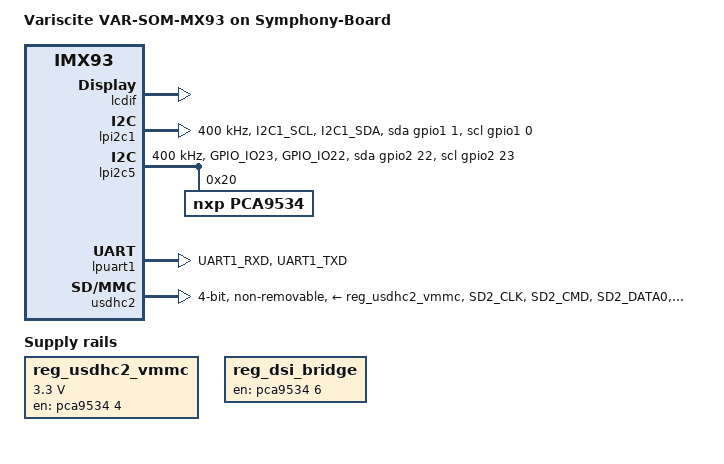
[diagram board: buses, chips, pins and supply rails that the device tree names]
// SPDX-License-Identifier: (GPL-2.0+ OR MIT)
/*
 * Copyright 2021 NXP
 * Copyright 2023 Variscite Ltd.
 */

/dts-v1/;

#include "imx93-var-som.dtsi"

/{
	model = "Variscite VAR-SOM-MX93 on Symphony-Board";
	compatible = "variscite,imx93-var-som", "fsl,imx93";

	aliases {
		ethernet1 = &fec;
	};

	chosen {
		bootargs = "console=ttyLP0,115200";	
		stdout-path = &lpuart1;
	};

	reserved-memory {
		#address-cells = <2>;
		#size-cells = <2>;
		ranges;

		audio: audio@a4120000 {
			compatible = "shared-dma-pool";
			reg = <0 0xa4120000 0 0x100000>;
			no-map;
		};
	};

	reg_usdhc2_vmmc: regulator-usdhc2 {
		compatible = "regulator-fixed";
		regulator-name = "VSD_3V3";
		regulator-min-microvolt = <3300000>;
		regulator-max-microvolt = <3300000>;
		gpio = <&pca9534 4 GPIO_ACTIVE_HIGH>;
		off-on-delay-us = <200000>;
		startup-delay-us = <200000>;
		enable-active-high;
	};

        reg_dsi_bridge: regulator-dsi-bridge {
                compatible = "regulator-fixed";
                regulator-name = "DSI_EN";
                gpio = <&pca9534 6 GPIO_ACTIVE_HIGH>;
		regulator-always-on;
                enable-active-high;
        };

};



&iomuxc {
	pinctrl-names = "default";
	status = "okay";

	pinctrl_lpi2c1_gpio: lpi2c1grp-gpio {
		fsl,pins = <
			MX93_PAD_I2C1_SCL__GPIO1_IO00			0x31e
			MX93_PAD_I2C1_SDA__GPIO1_IO01			0x31e
		>;
	};

	pinctrl_lpi2c1: lpi2c1grp {
		fsl,pins = <
			MX93_PAD_I2C1_SCL__LPI2C1_SCL			0x40000b9e
			MX93_PAD_I2C1_SDA__LPI2C1_SDA			0x40000b9e
		>;
	};

	pinctrl_lpi2c5: lpi2c5grp {
		fsl,pins = <
			MX93_PAD_GPIO_IO23__LPI2C5_SCL			0x40000b9e
			MX93_PAD_GPIO_IO22__LPI2C5_SDA			0x40000b9e
		>;
	};

	pinctrl_lpi2c5_gpio: lpi2c5grp-gpio {
		fsl,pins = <
			MX93_PAD_GPIO_IO23__GPIO2_IO23			0x31e
			MX93_PAD_GPIO_IO22__GPIO2_IO22			0x31e
		>;
	};

	pinctrl_uart1: uart1grp {
		fsl,pins = <
			MX93_PAD_UART1_RXD__LPUART1_RX			0x31e
			MX93_PAD_UART1_TXD__LPUART1_TX			0x31e
		>;
	};

	pinctrl_usdhc2: usdhc2grp {
		fsl,pins = <
                        MX93_PAD_SD2_CLK__USDHC2_CLK                    0x15fe
                        MX93_PAD_SD2_CMD__USDHC2_CMD                    0x13fe
                        MX93_PAD_SD2_DATA0__USDHC2_DATA0                0x13fe
                        MX93_PAD_SD2_DATA1__USDHC2_DATA1                0x13fe
                        MX93_PAD_SD2_DATA2__USDHC2_DATA2                0x13fe
                        MX93_PAD_SD2_DATA3__USDHC2_DATA3                0x13fe
                        MX93_PAD_SD2_VSELECT__USDHC2_VSELECT            0x51e
		>;
	};
};

&lcdif {
	status = "okay";
	assigned-clock-rates = <484000000>, <121000000>, <400000000>, <133333333>;
};

&lpi2c1 {
	#address-cells = <1>;
	#size-cells = <0>;
	clock-frequency = <400000>;
	pinctrl-names = "default", "sleep", "gpio";
	pinctrl-0 = <&pinctrl_lpi2c1>;
	pinctrl-1 = <&pinctrl_lpi2c1_gpio>;
	pinctrl-2 = <&pinctrl_lpi2c1_gpio>;
	scl-gpios = <&gpio1 0 GPIO_ACTIVE_HIGH>;
	sda-gpios = <&gpio1 1 GPIO_ACTIVE_HIGH>;
	status = "okay";
};

&lpi2c5 {
	#address-cells = <1>;
	#size-cells = <0>;
	clock-frequency = <400000>;
	pinctrl-names = "default", "sleep", "gpio";
	pinctrl-0 = <&pinctrl_lpi2c5>;
	pinctrl-1 = <&pinctrl_lpi2c5_gpio>;
	pinctrl-2 = <&pinctrl_lpi2c5_gpio>;
	scl-gpios = <&gpio2 23 GPIO_ACTIVE_HIGH>;
	sda-gpios = <&gpio2 22 GPIO_ACTIVE_HIGH>;
	status = "okay";

	pca9534: gpio@20 {
		status = "okay";
		compatible = "nxp,pca9534";
		reg = <0x20>;
		gpio-controller;
		#gpio-cells = <2>;
	};
};

&lpuart1 { /* console */
	pinctrl-names = "default";
	pinctrl-0 = <&pinctrl_uart1>;
	clocks = <&clk IMX93_CLK_LPUART1_GATE>, <&clk IMX93_CLK_LPUART1_GATE>;
	clock-names = "ipg", "per";
	status = "okay";
};

&usdhc2 {
	pinctrl-names = "default", "state_100mhz", "state_200mhz";
        pinctrl-0 = <&pinctrl_usdhc2>;
        pinctrl-1 = <&pinctrl_usdhc2>;
	pinctrl-2 = <&pinctrl_usdhc2>;
	non-removable;
	vmmc-supply = <&reg_usdhc2_vmmc>;
	bus-width = <4>;
	status = "okay";
	no-sdio;
	no-mmc;
};
